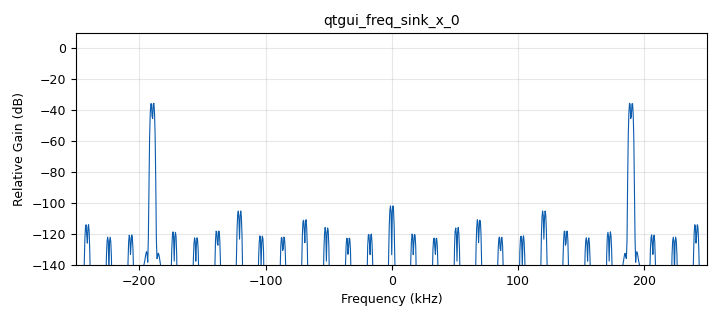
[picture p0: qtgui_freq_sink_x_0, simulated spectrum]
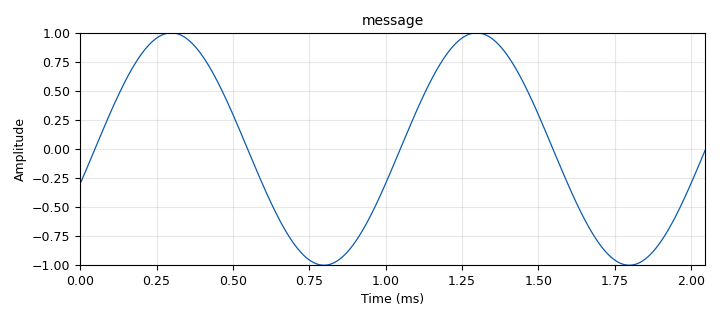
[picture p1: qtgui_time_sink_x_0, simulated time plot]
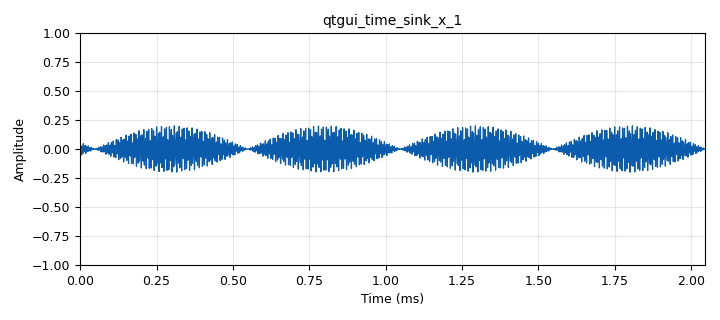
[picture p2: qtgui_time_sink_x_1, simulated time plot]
options:
  parameters:
    author: Win 11
    generate_options: qt_gui
    id: fm
    output_language: python
    title: Not titled yet
  states: {}

blocks:
- name: samp_rate
  id: variable
  parameters:
    value: 500e3
  states: {}
- name: variable_qtgui_range_0
  id: variable_qtgui_range
  parameters:
    label: fm
    start: '0'
    step: '1'
    stop: '20000'
    value: '1000'
  states: {}
- name: variable_qtgui_range_0_0
  id: variable_qtgui_range
  parameters:
    label: fc
    start: '1000'
    step: '1'
    stop: 1e6
    value: 1e6
  states: {}
- name: variable_qtgui_range_0_1
  id: variable_qtgui_range
  parameters:
    label: beta
    start: '100e-3'
    step: '500e-3'
    stop: '100'
    value: '200e-3'
  states: {}
- name: analog_frequency_modulator_fc_0
  id: analog_frequency_modulator_fc
  parameters:
    sensitivity: '75000'
  states: {}
- name: analog_sig_source_x_0
  id: analog_sig_source_x
  parameters:
    amp: '1'
    freq: 1e3
    offset: '0'
    phase: '0'
    samp_rate: samp_rate
    type: float
    waveform: analog.GR_SIN_WAVE
  states: {}
- name: analog_sig_source_x_1
  id: analog_sig_source_x
  parameters:
    amp: '1'
    freq: 1e6
    offset: '0'
    phase: '0'
    samp_rate: samp_rate
    type: complex
    waveform: analog.GR_COS_WAVE
  states: {}
- name: blocks_complex_to_float_0
  id: blocks_complex_to_float
  parameters: {}
  states: {}
- name: blocks_complex_to_real_0
  id: blocks_complex_to_real
  parameters: {}
  states: {}
- name: blocks_float_to_complex_0
  id: blocks_float_to_complex
  parameters: {}
  states: {}
- name: blocks_multiply_const_vxx_0
  id: blocks_multiply_const_vxx
  parameters:
    const: '200e-3'
    type: float
  states: {}
- name: blocks_multiply_xx_0
  id: blocks_multiply_xx
  parameters:
    type: complex
  states: {}
- name: qtgui_freq_sink_x_0
  id: qtgui_freq_sink_x
  parameters:
    bw: samp_rate
    fc: '0'
    fftsize: '1024'
    type: float
  states: {}
- name: qtgui_time_sink_x_0
  id: qtgui_time_sink_x
  parameters:
    name: message
    size: '1024'
    srate: samp_rate
    type: float
  states: {}
- name: qtgui_time_sink_x_1
  id: qtgui_time_sink_x
  parameters:
    size: '1024'
    srate: samp_rate
    type: float
  states: {}

connections:
- [analog_frequency_modulator_fc_0, '0', blocks_multiply_xx_0, '1']
- [analog_sig_source_x_0, '0', blocks_multiply_const_vxx_0, '0']
- [analog_sig_source_x_0, '0', qtgui_time_sink_x_0, '0']
- [analog_sig_source_x_1, '0', blocks_complex_to_float_0, '0']
- [blocks_complex_to_float_0, '0', analog_frequency_modulator_fc_0, '0']
- [blocks_complex_to_real_0, '0', qtgui_freq_sink_x_0, '0']
- [blocks_complex_to_real_0, '0', qtgui_time_sink_x_1, '0']
- [blocks_float_to_complex_0, '0', blocks_multiply_xx_0, '0']
- [blocks_multiply_const_vxx_0, '0', blocks_float_to_complex_0, '0']
- [blocks_multiply_xx_0, '0', blocks_complex_to_real_0, '0']

metadata:
  file_format: 1
  grc_version: 3.10.10.0
